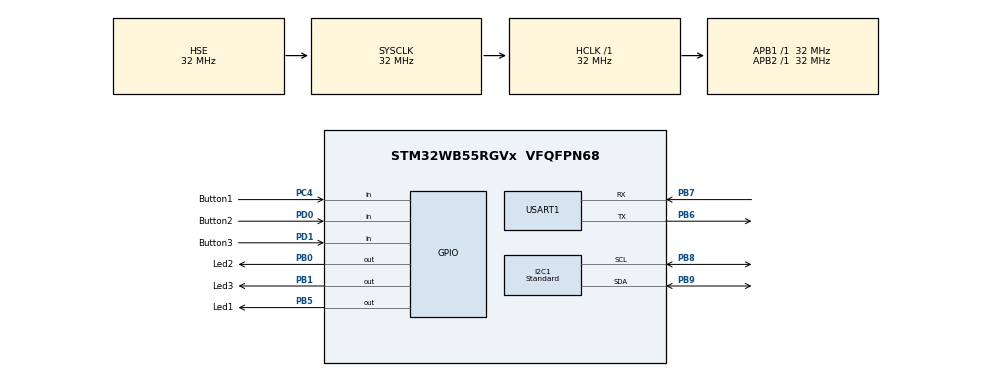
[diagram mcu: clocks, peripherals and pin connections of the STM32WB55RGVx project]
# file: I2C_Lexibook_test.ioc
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Dma.I2C1_RX.2.Direction=DMA_PERIPH_TO_MEMORY
Dma.I2C1_RX.2.EventEnable=DISABLE
Dma.I2C1_RX.2.Instance=DMA1_Channel3
Dma.I2C1_RX.2.MemDataAlignment=DMA_MDATAALIGN_BYTE
Dma.I2C1_RX.2.MemInc=DMA_MINC_ENABLE
Dma.I2C1_RX.2.Mode=DMA_NORMAL
Dma.I2C1_RX.2.PeriphDataAlignment=DMA_PDATAALIGN_BYTE
Dma.I2C1_RX.2.PeriphInc=DMA_PINC_DISABLE
Dma.I2C1_RX.2.Polarity=HAL_DMAMUX_REQ_GEN_RISING
Dma.I2C1_RX.2.Priority=DMA_PRIORITY_LOW
Dma.I2C1_RX.2.RequestNumber=1
Dma.I2C1_RX.2.SignalID=NONE
Dma.I2C1_RX.2.SyncEnable=DISABLE
Dma.I2C1_RX.2.SyncPolarity=HAL_DMAMUX_SYNC_NO_EVENT
Dma.I2C1_RX.2.SyncRequestNumber=1
Dma.I2C1_RX.2.SyncSignalID=NONE
Dma.I2C1_TX.3.Direction=DMA_MEMORY_TO_PERIPH
Dma.I2C1_TX.3.EventEnable=DISABLE
Dma.I2C1_TX.3.Instance=DMA1_Channel4
Dma.I2C1_TX.3.MemDataAlignment=DMA_MDATAALIGN_BYTE
Dma.I2C1_TX.3.MemInc=DMA_MINC_ENABLE
Dma.I2C1_TX.3.Mode=DMA_NORMAL
Dma.I2C1_TX.3.PeriphDataAlignment=DMA_PDATAALIGN_BYTE
Dma.I2C1_TX.3.PeriphInc=DMA_PINC_DISABLE
Dma.I2C1_TX.3.Polarity=HAL_DMAMUX_REQ_GEN_RISING
Dma.I2C1_TX.3.Priority=DMA_PRIORITY_LOW
Dma.I2C1_TX.3.RequestNumber=1
Dma.I2C1_TX.3.SignalID=NONE
Dma.I2C1_TX.3.SyncEnable=DISABLE
Dma.I2C1_TX.3.SyncPolarity=HAL_DMAMUX_SYNC_NO_EVENT
Dma.I2C1_TX.3.SyncRequestNumber=1
Dma.I2C1_TX.3.SyncSignalID=NONE
Dma.Request0=USART1_RX
Dma.Request1=USART1_TX
Dma.Request2=I2C1_RX
Dma.Request3=I2C1_TX
Dma.USART1_RX.0.Direction=DMA_PERIPH_TO_MEMORY
Dma.USART1_RX.0.EventEnable=DISABLE
Dma.USART1_RX.0.Instance=DMA1_Channel1
Dma.USART1_RX.0.MemDataAlignment=DMA_MDATAALIGN_BYTE
Dma.USART1_RX.0.MemInc=DMA_MINC_ENABLE
Dma.USART1_RX.0.Mode=DMA_NORMAL
Dma.USART1_RX.0.PeriphDataAlignment=DMA_PDATAALIGN_BYTE
Dma.USART1_RX.0.PeriphInc=DMA_PINC_DISABLE
Dma.USART1_RX.0.Polarity=HAL_DMAMUX_REQ_GEN_RISING
Dma.USART1_RX.0.Priority=DMA_PRIORITY_LOW
Dma.USART1_RX.0.RequestNumber=1
Dma.USART1_RX.0.SignalID=NONE
Dma.USART1_RX.0.SyncEnable=DISABLE
Dma.USART1_RX.0.SyncPolarity=HAL_DMAMUX_SYNC_NO_EVENT
Dma.USART1_RX.0.SyncRequestNumber=1
Dma.USART1_RX.0.SyncSignalID=NONE
Dma.USART1_TX.1.Direction=DMA_MEMORY_TO_PERIPH
Dma.USART1_TX.1.EventEnable=DISABLE
Dma.USART1_TX.1.Instance=DMA1_Channel2
Dma.USART1_TX.1.MemDataAlignment=DMA_MDATAALIGN_BYTE
Dma.USART1_TX.1.MemInc=DMA_MINC_ENABLE
Dma.USART1_TX.1.Mode=DMA_NORMAL
Dma.USART1_TX.1.PeriphDataAlignment=DMA_PDATAALIGN_BYTE
Dma.USART1_TX.1.PeriphInc=DMA_PINC_DISABLE
Dma.USART1_TX.1.Polarity=HAL_DMAMUX_REQ_GEN_RISING
Dma.USART1_TX.1.Priority=DMA_PRIORITY_LOW
Dma.USART1_TX.1.RequestNumber=1
Dma.USART1_TX.1.SignalID=NONE
Dma.USART1_TX.1.SyncEnable=DISABLE
Dma.USART1_TX.1.SyncPolarity=HAL_DMAMUX_SYNC_NO_EVENT
Dma.USART1_TX.1.SyncRequestNumber=1
Dma.USART1_TX.1.SyncSignalID=NONE
I2C1.I2C_Speed_Mode=I2C_Standard
I2C1.OwnAddress=SLAVE_ADDRESS
I2C1.Timing=0x00707CBB
Mcu.Family=STM32WB
Mcu.Name=STM32WB55RGVx
Mcu.Package=VFQFPN68
Mcu.UserConstants=SLAVE_ADDRESS,0xA0
NVIC.DMA1_Channel1_IRQn=true\:0\:0\:false\:false\:true\:false\:true
NVIC.DMA1_Channel2_IRQn=true\:0\:0\:false\:false\:true\:false\:true
NVIC.DMA1_Channel3_IRQn=true\:0\:0\:false\:false\:true\:false\:true
NVIC.DMA1_Channel4_IRQn=true\:0\:0\:false\:false\:true\:false\:true
NVIC.HSEM_IRQn=true\:0\:0\:false\:false\:true\:false\:true
NVIC.I2C1_ER_IRQn=true\:0\:0\:false\:false\:true\:true\:true
NVIC.I2C1_EV_IRQn=true\:0\:0\:false\:false\:true\:true\:true
NVIC.PriorityGroup=NVIC_PRIORITYGROUP_4
NVIC.USART1_IRQn=true\:0\:0\:false\:false\:true\:true\:true
OSC_IN.Mode=HSE-External-Oscillator
OSC_IN.Signal=RCC_OSC_IN
OSC_OUT.Mode=HSE-External-Oscillator
OSC_OUT.Signal=RCC_OSC_OUT
PB0.GPIO_Label=Led2
PB0.Signal=GPIO_Output
PB1.GPIO_Label=Led3
PB1.Signal=GPIO_Output
PB5.GPIO_Label=Led1
PB5.Signal=GPIO_Output
PB6.Mode=Asynchronous
PB6.Signal=USART1_TX
PB7.Mode=Asynchronous
PB7.Signal=USART1_RX
PB8.GPIO_Speed=GPIO_SPEED_FREQ_LOW
PB8.Mode=I2C
PB8.Signal=I2C1_SCL
PB9.GPIO_Speed=GPIO_SPEED_FREQ_LOW
PB9.Mode=I2C
PB9.Signal=I2C1_SDA
PC14-OSC32_IN.Mode=LSE-External-Oscillator
PC14-OSC32_IN.Signal=RCC_OSC32_IN
PC15-OSC32_OUT.Mode=LSE-External-Oscillator
PC15-OSC32_OUT.Signal=RCC_OSC32_OUT
PC4.GPIO_Label=Button1
PC4.GPIO_PuPd=GPIO_PULLUP
PC4.Signal=GPIO_Input
PD0.GPIO_Label=Button2
PD0.GPIO_PuPd=GPIO_PULLUP
PD0.Signal=GPIO_Input
PD1.GPIO_Label=Button3
PD1.GPIO_PuPd=GPIO_PULLUP
PD1.Signal=GPIO_Input
ProjectManager.HeapSize=0x200
ProjectManager.StackSize=0x400
ProjectManager.TargetToolchain=STM32CubeIDE
RCC.AHBFreq_Value=32000000
RCC.APB1Freq_Value=32000000
RCC.APB1TimFreq_Value=32000000
RCC.APB2Freq_Value=32000000
RCC.APB2TimFreq_Value=32000000
RCC.APB3Freq_Value=16000000
RCC.CortexFreq_Value=32000000
RCC.HCLKFreq_Value=32000000
RCC.HSE_VALUE=32000000
RCC.HSI48_VALUE=48000000
RCC.HSI_VALUE=16000000
RCC.SMPSCLockSelectionVirtual=RCC_SMPSCLKSOURCE_HSE
RCC.SYSCLKFreq_VALUE=32000000
RCC.SYSCLKSource=RCC_SYSCLKSOURCE_HSE
RCC.VCOOutputFreq_Value=32000000
USART1.VirtualMode-Asynchronous=VM_ASYNC
VP_HSEM_VS_HSEM.Mode=HSEM_Activate
board=custom

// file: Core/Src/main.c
/* USER CODE BEGIN Header */
/**
  ******************************************************************************
  * @file           : main.c
  * @brief          : Main program body
  ******************************************************************************
  * @attention
  *
  * <h2><center>&copy; Copyright (c) 2022 STMicroelectronics.
  * All rights reserved.</center></h2>
  *
  * This software component is licensed by ST under BSD 3-Clause license,
  * the "License"; You may not use this file except in compliance with the
  * License. You may obtain a copy of the License at:
  *                        opensource.org/licenses/BSD-3-Clause
  *
  ******************************************************************************
  */
/* USER CODE END Header */
#include "main.h"

/* USER CODE BEGIN Includes */
#include <stdio.h>
/* USER CODE END Includes */

I2C_HandleTypeDef hi2c1;
DMA_HandleTypeDef hdma_i2c1_rx;
DMA_HandleTypeDef hdma_i2c1_tx;

UART_HandleTypeDef huart1;
DMA_HandleTypeDef hdma_usart1_rx;
DMA_HandleTypeDef hdma_usart1_tx;

/* USER CODE BEGIN PV */
#define TEST_NUMBER_ARRAY	100
uint8_t SlaveRxBuffer[TEST_NUMBER_ARRAY];
uint8_t SlaveTxBuffer[TEST_NUMBER_ARRAY];
uint32_t packet_counter = 0;
/* USER CODE END PV */

void SystemClock_Config(void);
static void MX_GPIO_Init(void);
static void MX_DMA_Init(void);
static void MX_USART1_UART_Init(void);
static void MX_I2C1_Init(void);
/* USER CODE BEGIN PFP */
#ifdef __GNUC__
/* With GCC, small printf (option LD Linker->Libraries->Small printf
   set to 'Yes') calls __io_putchar() */
#define PUTCHAR_PROTOTYPE int __io_putchar(int ch)
#else
#define PUTCHAR_PROTOTYPE int fputc(int ch, FILE *f)
#endif /* __GNUC__ */
/* USER CODE END PFP */

int main(void)
{

  /* MCU Configuration--------------------------------------------------------*/

  /* Reset of all peripherals, Initializes the Flash interface and the Systick. */
  HAL_Init();

  /* Configure the system clock */
  SystemClock_Config();

  /* Initialize all configured peripherals */
  MX_GPIO_Init();
  MX_DMA_Init();
  MX_USART1_UART_Init();
  MX_I2C1_Init();

  /* Infinite loop */
  while (1)
  {

    /* USER CODE BEGIN 3 */
	  printf("Start !!! \n");
	  HAL_I2C_Slave_Receive_DMA(&hi2c1, (uint8_t *)SlaveRxBuffer, sizeof SlaveRxBuffer);

	  while (1)
	  {

	  }

  }
  /* USER CODE END 3 */
}

void SystemClock_Config(void)
{
  RCC_OscInitTypeDef RCC_OscInitStruct = {0};
  RCC_ClkInitTypeDef RCC_ClkInitStruct = {0};
  RCC_PeriphCLKInitTypeDef PeriphClkInitStruct = {0};

  /** Configure the main internal regulator output voltage
  */
  __HAL_PWR_VOLTAGESCALING_CONFIG(PWR_REGULATOR_VOLTAGE_SCALE1);
  /** Initializes the RCC Oscillators according to the specified parameters
  * in the RCC_OscInitTypeDef structure.
  */
  RCC_OscInitStruct.OscillatorType = RCC_OSCILLATORTYPE_HSI|RCC_OSCILLATORTYPE_HSE;
  RCC_OscInitStruct.HSEState = RCC_HSE_ON;
  RCC_OscInitStruct.HSIState = RCC_HSI_ON;
  RCC_OscInitStruct.HSICalibrationValue = RCC_HSICALIBRATION_DEFAULT;
  RCC_OscInitStruct.PLL.PLLState = RCC_PLL_NONE;
  if (HAL_RCC_OscConfig(&RCC_OscInitStruct) != HAL_OK)
  {
    Error_Handler();
  }
  /** Configure the SYSCLKSource, HCLK, PCLK1 and PCLK2 clocks dividers
  */
  RCC_ClkInitStruct.ClockType = RCC_CLOCKTYPE_HCLK4|RCC_CLOCKTYPE_HCLK2
                              |RCC_CLOCKTYPE_HCLK|RCC_CLOCKTYPE_SYSCLK
                              |RCC_CLOCKTYPE_PCLK1|RCC_CLOCKTYPE_PCLK2;
  RCC_ClkInitStruct.SYSCLKSource = RCC_SYSCLKSOURCE_HSE;
  RCC_ClkInitStruct.AHBCLKDivider = RCC_SYSCLK_DIV1;
  RCC_ClkInitStruct.APB1CLKDivider = RCC_HCLK_DIV1;
  RCC_ClkInitStruct.APB2CLKDivider = RCC_HCLK_DIV1;
  RCC_ClkInitStruct.AHBCLK2Divider = RCC_SYSCLK_DIV1;
  RCC_ClkInitStruct.AHBCLK4Divider = RCC_SYSCLK_DIV1;

  if (HAL_RCC_ClockConfig(&RCC_ClkInitStruct, FLASH_LATENCY_1) != HAL_OK)
  {
    Error_Handler();
  }
  /** Initializes the peripherals clocks
  */
  PeriphClkInitStruct.PeriphClockSelection = RCC_PERIPHCLK_SMPS|RCC_PERIPHCLK_USART1
                              |RCC_PERIPHCLK_I2C1;
  PeriphClkInitStruct.Usart1ClockSelection = RCC_USART1CLKSOURCE_PCLK2;
  PeriphClkInitStruct.I2c1ClockSelection = RCC_I2C1CLKSOURCE_PCLK1;
  PeriphClkInitStruct.SmpsClockSelection = RCC_SMPSCLKSOURCE_HSE;
  PeriphClkInitStruct.SmpsDivSelection = RCC_SMPSCLKDIV_RANGE0;
  if (HAL_RCCEx_PeriphCLKConfig(&PeriphClkInitStruct) != HAL_OK)
  {
    Error_Handler();
  }
}

static void MX_I2C1_Init(void)
{

  hi2c1.Instance = I2C1;
  hi2c1.Init.Timing = 0x00707CBB;
  hi2c1.Init.OwnAddress1 = SLAVE_ADDRESS;
  hi2c1.Init.AddressingMode = I2C_ADDRESSINGMODE_7BIT;
  hi2c1.Init.DualAddressMode = I2C_DUALADDRESS_DISABLE;
  hi2c1.Init.OwnAddress2 = 0;
  hi2c1.Init.OwnAddress2Masks = I2C_OA2_NOMASK;
  hi2c1.Init.GeneralCallMode = I2C_GENERALCALL_DISABLE;
  hi2c1.Init.NoStretchMode = I2C_NOSTRETCH_DISABLE;
  if (HAL_I2C_Init(&hi2c1) != HAL_OK)
  {
    Error_Handler();
  }
  /** Configure Analogue filter
  */
  if (HAL_I2CEx_ConfigAnalogFilter(&hi2c1, I2C_ANALOGFILTER_ENABLE) != HAL_OK)
  {
    Error_Handler();
  }
  /** Configure Digital filter
  */
  if (HAL_I2CEx_ConfigDigitalFilter(&hi2c1, 0) != HAL_OK)
  {
    Error_Handler();
  }

}

static void MX_USART1_UART_Init(void)
{

  huart1.Instance = USART1;
  huart1.Init.BaudRate = 115200;
  huart1.Init.WordLength = UART_WORDLENGTH_8B;
  huart1.Init.StopBits = UART_STOPBITS_1;
  huart1.Init.Parity = UART_PARITY_NONE;
  huart1.Init.Mode = UART_MODE_TX_RX;
  huart1.Init.HwFlowCtl = UART_HWCONTROL_NONE;
  huart1.Init.OverSampling = UART_OVERSAMPLING_16;
  huart1.Init.OneBitSampling = UART_ONE_BIT_SAMPLE_DISABLE;
  huart1.Init.ClockPrescaler = UART_PRESCALER_DIV1;
  huart1.AdvancedInit.AdvFeatureInit = UART_ADVFEATURE_NO_INIT;
  if (HAL_UART_Init(&huart1) != HAL_OK)
  {
    Error_Handler();
  }
  if (HAL_UARTEx_SetTxFifoThreshold(&huart1, UART_TXFIFO_THRESHOLD_1_8) != HAL_OK)
  {
    Error_Handler();
  }
  if (HAL_UARTEx_SetRxFifoThreshold(&huart1, UART_RXFIFO_THRESHOLD_1_8) != HAL_OK)
  {
    Error_Handler();
  }
  if (HAL_UARTEx_DisableFifoMode(&huart1) != HAL_OK)
  {
    Error_Handler();
  }

}

static void MX_DMA_Init(void)
{

  /* DMA controller clock enable */
  __HAL_RCC_DMAMUX1_CLK_ENABLE();
  __HAL_RCC_DMA1_CLK_ENABLE();

  /* DMA interrupt init */
  /* DMA1_Channel1_IRQn interrupt configuration */
  HAL_NVIC_SetPriority(DMA1_Channel1_IRQn, 0, 0);
  HAL_NVIC_EnableIRQ(DMA1_Channel1_IRQn);
  /* DMA1_Channel2_IRQn interrupt configuration */
  HAL_NVIC_SetPriority(DMA1_Channel2_IRQn, 0, 0);
  HAL_NVIC_EnableIRQ(DMA1_Channel2_IRQn);
  /* DMA1_Channel3_IRQn interrupt configuration */
  HAL_NVIC_SetPriority(DMA1_Channel3_IRQn, 0, 0);
  HAL_NVIC_EnableIRQ(DMA1_Channel3_IRQn);
  /* DMA1_Channel4_IRQn interrupt configuration */
  HAL_NVIC_SetPriority(DMA1_Channel4_IRQn, 0, 0);
  HAL_NVIC_EnableIRQ(DMA1_Channel4_IRQn);

}

static void MX_GPIO_Init(void)
{
  GPIO_InitTypeDef GPIO_InitStruct = {0};

  /* GPIO Ports Clock Enable */
  __HAL_RCC_GPIOC_CLK_ENABLE();
  __HAL_RCC_GPIOB_CLK_ENABLE();
  __HAL_RCC_GPIOD_CLK_ENABLE();

  /*Configure GPIO pin Output Level */
  HAL_GPIO_WritePin(GPIOB, Led2_Pin|Led3_Pin|Led1_Pin, GPIO_PIN_RESET);

  /*Configure GPIO pin : Button1_Pin */
  GPIO_InitStruct.Pin = Button1_Pin;
  GPIO_InitStruct.Mode = GPIO_MODE_INPUT;
  GPIO_InitStruct.Pull = GPIO_PULLUP;
  HAL_GPIO_Init(Button1_GPIO_Port, &GPIO_InitStruct);

  /*Configure GPIO pins : Led2_Pin Led3_Pin Led1_Pin */
  GPIO_InitStruct.Pin = Led2_Pin|Led3_Pin|Led1_Pin;
  GPIO_InitStruct.Mode = GPIO_MODE_OUTPUT_PP;
  GPIO_InitStruct.Pull = GPIO_NOPULL;
  GPIO_InitStruct.Speed = GPIO_SPEED_FREQ_LOW;
  HAL_GPIO_Init(GPIOB, &GPIO_InitStruct);

  /*Configure GPIO pins : Button2_Pin Button3_Pin */
  GPIO_InitStruct.Pin = Button2_Pin|Button3_Pin;
  GPIO_InitStruct.Mode = GPIO_MODE_INPUT;
  GPIO_InitStruct.Pull = GPIO_PULLUP;
  HAL_GPIO_Init(GPIOD, &GPIO_InitStruct);

}

/* USER CODE BEGIN 4 */
PUTCHAR_PROTOTYPE
{
  /* Place your implementation of fputc here */
  /* e.g. write a character to the USART1 and Loop until the end of transmission */
  HAL_UART_Transmit(&huart1, (uint8_t *)&ch, 1, 0xFFFF);

  return ch;
}

void HAL_I2C_MasterTxCpltCallback(I2C_HandleTypeDef *hi2c)
{
//	printf("Master send \n");
}

void HAL_I2C_MasterRxCpltCallback(I2C_HandleTypeDef *hi2c)
{
//	printf("Master received \n");
}

void HAL_I2C_SlaveTxCpltCallback(I2C_HandleTypeDef *hi2c)
{
	printf("Slave send CB\n");
	HAL_GPIO_TogglePin(Led3_GPIO_Port, Led3_Pin);
	HAL_I2C_Slave_Receive_DMA(&hi2c1, (uint8_t *)SlaveRxBuffer, sizeof SlaveRxBuffer);
}

void HAL_I2C_SlaveRxCpltCallback(I2C_HandleTypeDef *hi2c)
{
	printf("Slave received CB\n");
	HAL_GPIO_TogglePin(Led2_GPIO_Port, Led2_Pin);
	HAL_I2C_Slave_Transmit_DMA(&hi2c1, (uint8_t *)SlaveRxBuffer, sizeof SlaveRxBuffer);
}
/* USER CODE END 4 */

void Error_Handler(void)
{
}

/************************ (C) COPYRIGHT STMicroelectronics *****END OF FILE****/
